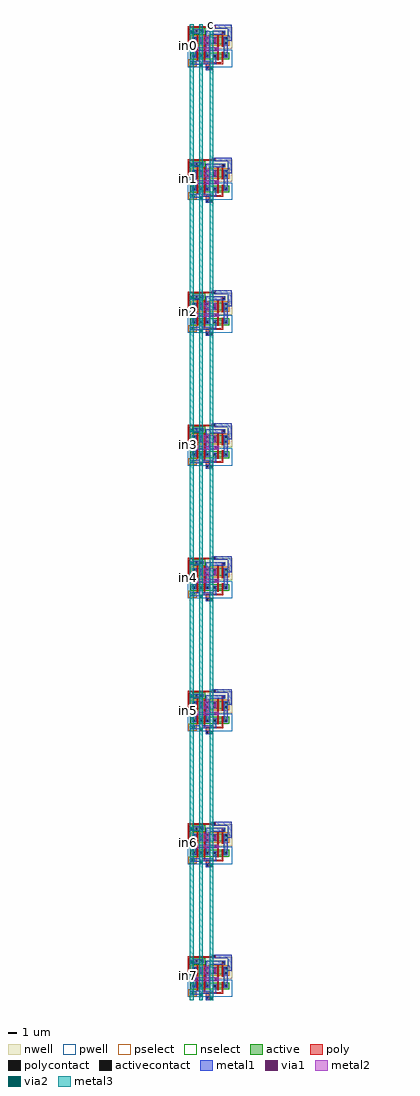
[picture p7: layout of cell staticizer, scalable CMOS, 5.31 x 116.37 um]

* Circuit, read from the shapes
.subckt staticizer GND_ Vdd_ c in0 in1 in2 in3 in4 in5 in6 in7
M1 GND_ in7 n1 GND_ nfet w=0.45u l=0.18u
M2 GND_ in6 n2 GND_ nfet w=0.45u l=0.18u
M3 GND_ in5 n3 GND_ nfet w=0.45u l=0.18u
M4 GND_ in4 n4 GND_ nfet w=0.45u l=0.18u
M5 GND_ in3 n5 GND_ nfet w=0.45u l=0.18u
M6 GND_ in2 n6 GND_ nfet w=0.45u l=0.18u
M7 GND_ in1 n7 GND_ nfet w=0.45u l=0.18u
M8 GND_ in0 n8 GND_ nfet w=0.45u l=0.18u
M9 n9 c GND_ GND_ nfet w=0.45u l=0.18u
M10 n10 c GND_ GND_ nfet w=0.45u l=0.18u
M11 n11 c GND_ GND_ nfet w=0.45u l=0.18u
M12 n12 c GND_ GND_ nfet w=0.45u l=0.18u
M13 n13 c GND_ GND_ nfet w=0.45u l=0.18u
M14 n14 c GND_ GND_ nfet w=0.45u l=0.18u
M15 n15 c GND_ GND_ nfet w=0.45u l=0.18u
M16 n16 c GND_ GND_ nfet w=0.45u l=0.18u
M17 n17 n1 GND_ GND_ nfet w=0.45u l=0.18u
M18 n18 n2 GND_ GND_ nfet w=0.45u l=0.18u
M19 n19 n3 GND_ GND_ nfet w=0.45u l=0.18u
M20 n20 n4 GND_ GND_ nfet w=0.45u l=0.18u
M21 n21 n5 GND_ GND_ nfet w=0.45u l=0.18u
M22 n22 n6 GND_ GND_ nfet w=0.45u l=0.18u
M23 n23 n7 GND_ GND_ nfet w=0.45u l=0.18u
M24 n24 n8 GND_ GND_ nfet w=0.45u l=0.18u
M25 in7 c n17 GND_ nfet w=0.45u l=0.18u
M26 in6 c n18 GND_ nfet w=0.45u l=0.18u
M27 in5 c n19 GND_ nfet w=0.45u l=0.18u
M28 in4 c n20 GND_ nfet w=0.45u l=0.18u
M29 in3 c n21 GND_ nfet w=0.45u l=0.18u
M30 in2 c n22 GND_ nfet w=0.45u l=0.18u
M31 in1 c n23 GND_ nfet w=0.45u l=0.18u
M32 in0 c n24 GND_ nfet w=0.45u l=0.18u
M33 Vdd_ in7 n1 Vdd_ pfet w=0.9u l=0.18u
M34 Vdd_ in6 n2 Vdd_ pfet w=0.9u l=0.18u
M35 Vdd_ in5 n3 Vdd_ pfet w=0.9u l=0.18u
M36 Vdd_ in4 n4 Vdd_ pfet w=0.9u l=0.18u
M37 Vdd_ in3 n5 Vdd_ pfet w=0.9u l=0.18u
M38 Vdd_ in2 n6 Vdd_ pfet w=0.9u l=0.18u
M39 Vdd_ in1 n7 Vdd_ pfet w=0.9u l=0.18u
M40 Vdd_ in0 n8 Vdd_ pfet w=0.9u l=0.18u
M41 n9 c Vdd_ Vdd_ pfet w=0.9u l=0.18u
M42 n10 c Vdd_ Vdd_ pfet w=0.9u l=0.18u
M43 n11 c Vdd_ Vdd_ pfet w=0.9u l=0.18u
M44 n12 c Vdd_ Vdd_ pfet w=0.9u l=0.18u
M45 n13 c Vdd_ Vdd_ pfet w=0.9u l=0.18u
M46 n14 c Vdd_ Vdd_ pfet w=0.9u l=0.18u
M47 n15 c Vdd_ Vdd_ pfet w=0.9u l=0.18u
M48 n16 c Vdd_ Vdd_ pfet w=0.9u l=0.18u
M49 n25 n1 Vdd_ Vdd_ pfet w=0.9u l=0.18u
M50 n26 n2 Vdd_ Vdd_ pfet w=0.9u l=0.18u
M51 n27 n3 Vdd_ Vdd_ pfet w=0.9u l=0.18u
M52 n28 n4 Vdd_ Vdd_ pfet w=0.9u l=0.18u
M53 n29 n5 Vdd_ Vdd_ pfet w=0.9u l=0.18u
M54 n30 n6 Vdd_ Vdd_ pfet w=0.9u l=0.18u
M55 n31 n7 Vdd_ Vdd_ pfet w=0.9u l=0.18u
M56 n32 n8 Vdd_ Vdd_ pfet w=0.9u l=0.18u
M57 in7 n9 n25 Vdd_ pfet w=0.9u l=0.18u
M58 in6 n10 n26 Vdd_ pfet w=0.9u l=0.18u
M59 in5 n11 n27 Vdd_ pfet w=0.9u l=0.18u
M60 in4 n12 n28 Vdd_ pfet w=0.9u l=0.18u
M61 in3 n13 n29 Vdd_ pfet w=0.9u l=0.18u
M62 in2 n14 n30 Vdd_ pfet w=0.9u l=0.18u
M63 in1 n15 n31 Vdd_ pfet w=0.9u l=0.18u
M64 in0 n16 n32 Vdd_ pfet w=0.9u l=0.18u
.ends

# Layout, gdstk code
import gdstk
lib = gdstk.Library(unit=1e-6, precision=1e-09)
def R(c, l, rs):  # rectangles x0, y0, x1, y1
    for r in rs: c.add(gdstk.rectangle(r[:2], r[2:], *l))
def A(c, l, x, y, w, h, nx, ny, dx, dy):  # array of equal rectangles
    R(c, l, [(x+i*dx, y+j*dy, x+i*dx+w, y+j*dy+h) for i in range(nx) for j in range(ny)])
pwell = (41, 0)
nwell = (42, 0)
active = (43, 0)
pselect = (44, 0)
nselect = (45, 0)
poly = (46, 0)
polycontact = (47, 0)
activecontact = (48, 0)
metal1 = (49, 0)
via1 = (50, 0)
metal2 = (51, 0)
via2 = (61, 0)
metal3 = (62, 0)

staticizer_one = lib.new_cell('staticizer_one')
R(staticizer_one, pwell, [(4.86,-5.13,10.17,-3.06)])
R(staticizer_one, nwell, [(4.86,-2.97,10.17,-0.36)])
R(staticizer_one, active, [(5.13,-4.86,5.76,-4.41), (5.4,-4.05,7.47,-3.6), (7.83,-4.05,9.63,-3.6), (5.4,-2.43,7.47,-1.53), (7.83,-2.43,9.63,-1.53), (5.58,-1.08,6.75,-0.63)])
R(staticizer_one, pselect, [(4.95,-5.04,5.94,-4.23), (5.22,-2.61,9.81,-1.35)])
R(staticizer_one, nselect, [(5.22,-4.23,9.81,-3.42), (5.4,-1.26,6.93,-0.45)])
R(staticizer_one, poly, [(7.02,-5.49,7.47,-4.77), (6.75,-4.77,9.09,-4.59), (6.75,-4.59,6.93,-1.26), (8.91,-4.59,9.09,-3.33), (5.94,-4.32,6.12,-2.79), (8.37,-4.32,8.55,-3.24), (8.1,-3.24,8.55,-2.79), (4.86,-2.79,6.12,-2.61), (8.37,-2.79,8.55,-1.26), (8.91,-2.7,9.09,-1.26), (4.86,-2.61,5.04,-0.45), (5.94,-2.61,6.12,-1.26), (8.91,-1.26,9.36,-0.81), (7.74,-0.54,8.19,-0.45), (4.86,-0.45,8.19,-0.27), (7.74,-0.27,8.19,-0.09)])
R(staticizer_one, polycontact, [(7.155,-5.355,7.335,-5.175), (8.235,-3.105,8.415,-2.925), (9.045,-1.125,9.225,-0.945), (7.875,-0.405,8.055,-0.225)])
A(staticizer_one, activecontact, 5.535, -3.915, 0.18, 0.18, 4, 2, 0.81, 1.575)
A(staticizer_one, activecontact, 5.535, -1.8, 0.18, 0.18, 4, 1, 0.81, 0)
R(staticizer_one, activecontact, [(5.355,-4.725,5.535,-4.545), (9.315,-3.915,9.495,-3.735), (9.315,-2.34,9.495,-2.16), (9.315,-1.8,9.495,-1.62), (5.805,-0.945,5.985,-0.765), (6.345,-0.945,6.525,-0.765)])
R(staticizer_one, metal1, [(7.02,-5.49,7.47,-5.04), (6.21,-5.13,6.66,-4.86), (5.13,-4.86,6.66,-4.77), (5.13,-4.77,8.28,-4.41), (6.21,-4.41,6.66,-3.6), (7.83,-4.41,8.28,-3.6), (5.4,-4.05,5.85,-1.53), (7.02,-4.05,7.47,-1.26), (9.18,-4.05,9.63,-1.98), (8.1,-3.24,8.55,-2.79), (6.21,-2.43,6.66,-1.17), (7.83,-2.43,8.28,-1.53), (9.18,-1.98,10.08,-1.53), (9.63,-1.53,10.08,-0.54), (7.02,-1.26,9.36,-0.81), (5.13,-1.17,6.66,-1.08), (5.13,-1.08,6.75,-0.72), (5.58,-0.72,6.75,-0.63), (7.74,-0.54,10.08,-0.09)])
R(staticizer_one, via1, [(5.49,-3.15,5.76,-2.88), (8.19,-3.15,8.46,-2.88), (6.3,-2.115,6.57,-1.845), (7.92,-2.115,8.19,-1.845)])
R(staticizer_one, metal2, [(5.4,-3.24,8.55,-2.79), (6.21,-2.43,8.28,-1.53)])
staticizer_one.add(gdstk.Label('in', (6.03,-2.61), layer=46, texttype=0))
staticizer_one.add(gdstk.Label('out', (9.45,-3.06), layer=49, texttype=0))
staticizer_one.add(gdstk.Label('c', (6.84,-1.44), layer=46, texttype=0))
staticizer_one.add(gdstk.Label('Vdd_', (6.03,-0.9), layer=49, texttype=0))

staticizer = lib.new_cell('staticizer')
R(staticizer, pwell, [(8.1,-108.99,8.55,-108.81)])
A(staticizer, poly, 5.49, -106.56, 0.18, 0.18, 1, 8, 0, 15.84)
A(staticizer, metal1, 8.1, -109.35, 0.45, 0.45, 1, 8, 0, 15.84)
A(staticizer, metal1, 6.84, -108.99, 0.45, 0.45, 1, 8, 0, 15.84)
A(staticizer, metal1, 5.76, -105.03, 0.45, 0.45, 1, 8, 0, 15.84)
A(staticizer, via1, 8.19, -109.26, 0.27, 0.27, 1, 8, 0, 15.84)
A(staticizer, via1, 6.93, -108.9, 0.27, 0.27, 1, 8, 0, 15.84)
A(staticizer, via1, 5.85, -104.94, 0.27, 0.27, 1, 8, 0, 15.84)
A(staticizer, metal2, 8.1, -109.35, 0.45, 0.45, 1, 8, 0, 15.84)
A(staticizer, metal2, 6.84, -108.99, 0.45, 0.45, 1, 8, 0, 15.84)
A(staticizer, metal2, 5.76, -105.03, 0.45, 0.45, 1, 8, 0, 15.84)
A(staticizer, via2, 8.19, -109.26, 0.27, 0.27, 1, 8, 0, 15.84)
A(staticizer, via2, 6.93, -108.9, 0.27, 0.27, 1, 8, 0, 15.84)
A(staticizer, via2, 5.85, -104.94, 0.27, 0.27, 1, 8, 0, 15.84)
R(staticizer, metal3, [(5.76,-109.35,6.21,7.02), (6.84,-109.35,7.29,7.02), (8.1,-109.35,8.55,7.02)])
staticizer.add(gdstk.Reference(staticizer_one, (0.63,-8.82)))
staticizer.add(gdstk.Reference(staticizer_one, (0.63,7.02)))
staticizer.add(gdstk.Reference(staticizer_one, (0.63,-24.66)))
staticizer.add(gdstk.Reference(staticizer_one, (0.63,-56.34)))
staticizer.add(gdstk.Reference(staticizer_one, (0.63,-88.02)))
staticizer.add(gdstk.Reference(staticizer_one, (0.63,-103.86)))
staticizer.add(gdstk.Reference(staticizer_one, (0.63,-72.18)))
staticizer.add(gdstk.Reference(staticizer_one, (0.63,-40.5)))
staticizer.add(gdstk.Label('in2', (5.58,-27.27), layer=46, texttype=0))
staticizer.add(gdstk.Label('in3', (5.58,-43.11), layer=46, texttype=0))
staticizer.add(gdstk.Label('in4', (5.58,-58.95), layer=46, texttype=0))
staticizer.add(gdstk.Label('in5', (5.58,-74.79), layer=46, texttype=0))
staticizer.add(gdstk.Label('in6', (5.58,-90.63), layer=46, texttype=0))
staticizer.add(gdstk.Label('in7', (5.58,-106.47), layer=46, texttype=0))
staticizer.add(gdstk.Label('in1', (5.58,-11.43), layer=46, texttype=0))
staticizer.add(gdstk.Label('in0', (5.58,4.41), layer=46, texttype=0))
staticizer.add(gdstk.Label('c', (8.325,6.93), layer=62, texttype=0))
staticizer.add(gdstk.Label('GND_', (7.065,6.93), layer=62, texttype=0))
staticizer.add(gdstk.Label('Vdd_', (5.985,6.93), layer=62, texttype=0))

lib.write_gds('staticizer.gds')
